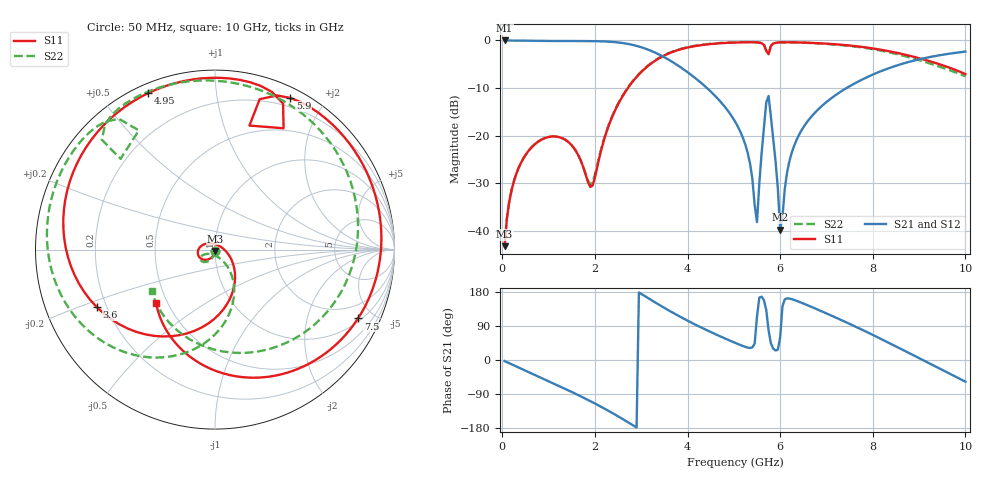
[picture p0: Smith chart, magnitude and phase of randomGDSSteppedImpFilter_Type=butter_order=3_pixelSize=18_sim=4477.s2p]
! freq	dB(S11)	phase(S11)	dB(S12)	phase(S12)
!  dB(S21)	phase(S21)	dB(S22)	phase(S22)
!S-par simulation data
#  GHz  S  DB  R 50
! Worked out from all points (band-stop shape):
!   200 points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, 50 MHz to 10 GHz, reference 50 ohm
!   highest |S21| = -0.01 dB at 50 MHz (marker M1); lowest = -39.7 dB at 6 GHz (marker M2)
!   |S21| within 3 dB of the highest: start of sweep to 3.396 GHz; 9.506 GHz to end of sweep
!   lowest |S11| = -43.2 dB at 50 MHz (marker M3), VSWR 1.01, Z = 50 - j0.694 ohm
!   |S11| at or under -10 dB: start of sweep to 2.711 GHz
!   |S22| runs from -43.2 to -0.3 dB; largest |S21 - S12| = 0
!   S11 on the Smith chart (normalised r, x): 50 MHz: 1.00, -0.01; 3.6 GHz: 0.16, -0.22; 4.95 GHz: 0.04, +0.66; 5.9 GHz: 0.10, +1.61; 7.5 GHz: 1.16, -4.08; 10 GHz: 0.43, -0.32
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0.05  -43.17 -91.3  -0.01 -2.8  -0.01 -2.8  -43.15 -90.2
0.25  -29.56 -105.8  -0.03 -14.0  -0.03 -14.0  -29.54 -101.8
0.65  -22.25 -132.2  -0.07 -36.2  -0.07 -36.2  -22.24 -121.3
1.75  -26.64 130.9  -0.13 -99.3  -0.13 -99.3  -26.55 -149.2
1.95  -30.44 47.6  -0.15 -111.7  -0.15 -111.7  -29.78 -92.1
2.65  -10.89 -73.0  -0.62 -159.5  -0.62 -159.5  -10.78 -68.9
3.4  -3.66 -138.0  -3.03 144.7  -3.03 144.7  -3.58 -115.1
3.6  -2.70 -154.1  -4.09 130.5  -4.09 130.5  -2.62 -127.4
4.2  -1.12 161.7  -8.16 91.5  -8.16 91.5  -1.05 -160.9
4.95  -0.46 113.1  -15.84 49.3  -15.84 49.3  -0.41 163.3
5.05  -0.43 106.9  -17.43 44.1  -17.43 44.1  -0.38 158.8
5.35  -0.38 88.2  -25.85 31.7  -25.85 31.7  -0.34 144.9
5.5  -0.42 78.2  -38.12 115.0  -38.12 115.0  -0.38 137.1
5.7  -2.20 60.5  -12.99 131.9  -12.99 131.9  -2.07 122.6
5.9  -0.51 63.6  -25.30 25.0  -25.30 25.0  -0.49 127.5
6  -0.41 56.4  -39.74 59.4  -39.74 59.4  -0.40 121.5
6.25  -0.40 41.1  -23.57 160.6  -23.57 160.6  -0.40 108.9
6.7  -0.53 16.1  -15.70 138.9  -15.70 138.9  -0.56 86.7
7.5  -1.07 -25.7  -9.61 95.3  -9.61 95.3  -1.16 42.5
8.35  -2.26 -66.6  -5.82 45.1  -5.82 45.1  -2.49 -14.7
9.1  -4.00 -99.3  -3.75 -1.4  -3.75 -1.4  -4.43 -73.3
10  -7.07 -137.7  -2.34 -57.1  -2.34 -57.1  -7.51 -147.0
